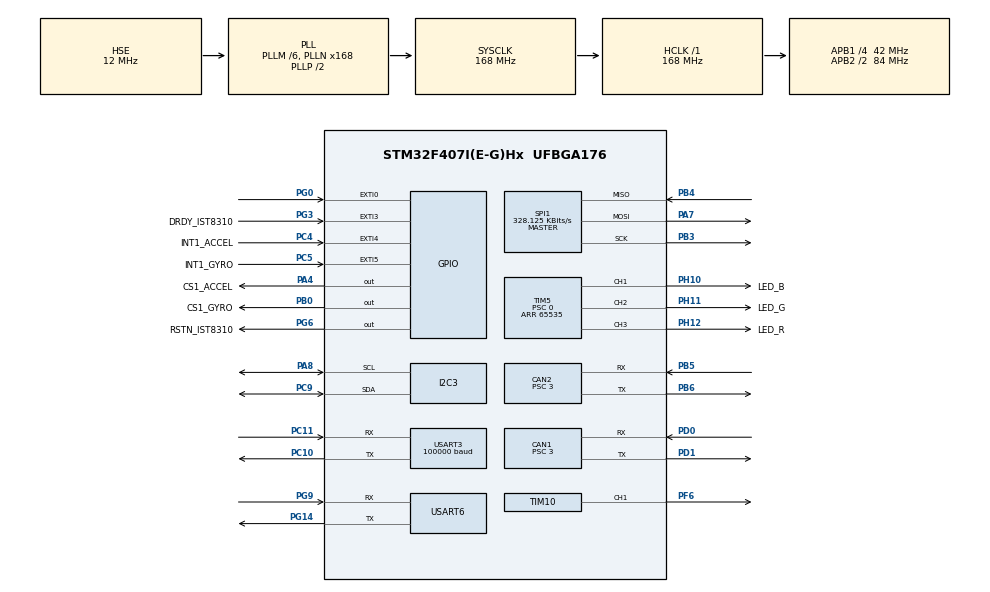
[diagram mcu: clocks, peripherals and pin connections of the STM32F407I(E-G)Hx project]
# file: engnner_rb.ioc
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CAN1.BS1=CAN_BS1_10TQ
CAN1.BS2=CAN_BS2_3TQ
CAN1.CalculateTimeQuantum=71.42857142857143
CAN1.Prescaler=3
CAN2.BS1=CAN_BS1_10TQ
CAN2.BS2=CAN_BS2_3TQ
CAN2.CalculateTimeQuantum=71.42857142857143
CAN2.Prescaler=3
Dma.Request0=SPI1_RX
Dma.Request1=SPI1_TX
Dma.Request2=USART3_RX
Dma.Request3=USART6_RX
Dma.SPI1_RX.0.Direction=DMA_PERIPH_TO_MEMORY
Dma.SPI1_RX.0.FIFOMode=DMA_FIFOMODE_DISABLE
Dma.SPI1_RX.0.Instance=DMA2_Stream2
Dma.SPI1_RX.0.MemDataAlignment=DMA_MDATAALIGN_BYTE
Dma.SPI1_RX.0.MemInc=DMA_MINC_ENABLE
Dma.SPI1_RX.0.Mode=DMA_NORMAL
Dma.SPI1_RX.0.PeriphDataAlignment=DMA_PDATAALIGN_BYTE
Dma.SPI1_RX.0.PeriphInc=DMA_PINC_DISABLE
Dma.SPI1_RX.0.Priority=DMA_PRIORITY_VERY_HIGH
Dma.SPI1_TX.1.Direction=DMA_MEMORY_TO_PERIPH
Dma.SPI1_TX.1.FIFOMode=DMA_FIFOMODE_DISABLE
Dma.SPI1_TX.1.Instance=DMA2_Stream3
Dma.SPI1_TX.1.MemDataAlignment=DMA_MDATAALIGN_BYTE
Dma.SPI1_TX.1.MemInc=DMA_MINC_ENABLE
Dma.SPI1_TX.1.Mode=DMA_NORMAL
Dma.SPI1_TX.1.PeriphDataAlignment=DMA_PDATAALIGN_BYTE
Dma.SPI1_TX.1.PeriphInc=DMA_PINC_DISABLE
Dma.SPI1_TX.1.Priority=DMA_PRIORITY_HIGH
Dma.USART3_RX.2.Direction=DMA_PERIPH_TO_MEMORY
Dma.USART3_RX.2.FIFOMode=DMA_FIFOMODE_DISABLE
Dma.USART3_RX.2.Instance=DMA1_Stream1
Dma.USART3_RX.2.MemDataAlignment=DMA_MDATAALIGN_BYTE
Dma.USART3_RX.2.MemInc=DMA_MINC_ENABLE
Dma.USART3_RX.2.Mode=DMA_CIRCULAR
Dma.USART3_RX.2.PeriphDataAlignment=DMA_PDATAALIGN_BYTE
Dma.USART3_RX.2.PeriphInc=DMA_PINC_DISABLE
Dma.USART3_RX.2.Priority=DMA_PRIORITY_HIGH
Dma.USART6_RX.3.Direction=DMA_PERIPH_TO_MEMORY
Dma.USART6_RX.3.FIFOMode=DMA_FIFOMODE_DISABLE
Dma.USART6_RX.3.Instance=DMA2_Stream1
Dma.USART6_RX.3.MemDataAlignment=DMA_MDATAALIGN_BYTE
Dma.USART6_RX.3.MemInc=DMA_MINC_ENABLE
Dma.USART6_RX.3.Mode=DMA_NORMAL
Dma.USART6_RX.3.PeriphDataAlignment=DMA_PDATAALIGN_BYTE
Dma.USART6_RX.3.PeriphInc=DMA_PINC_DISABLE
Dma.USART6_RX.3.Priority=DMA_PRIORITY_HIGH
FREERTOS.INCLUDE_eTaskGetState=1
FREERTOS.INCLUDE_pcTaskGetTaskName=1
FREERTOS.INCLUDE_uxTaskGetStackHighWaterMark=1
FREERTOS.INCLUDE_vTaskCleanUpResources=1
FREERTOS.INCLUDE_vTaskDelayUntil=1
FREERTOS.INCLUDE_xEventGroupSetBitFromISR=1
FREERTOS.INCLUDE_xQueueGetMutexHolder=1
FREERTOS.INCLUDE_xSemaphoreGetMutexHolder=1
FREERTOS.INCLUDE_xTaskAbortDelay=1
FREERTOS.INCLUDE_xTaskGetCurrentTaskHandle=1
FREERTOS.INCLUDE_xTaskGetHandle=1
FREERTOS.INCLUDE_xTimerPendFunctionCall=1
FREERTOS.Tasks01=test,24,128,test_task,As weak,NULL,Dynamic,NULL,NULL
FREERTOS.configTOTAL_HEAP_SIZE=24576
I2C3.I2C_Mode=I2C_Fast
Mcu.Family=STM32F4
Mcu.Name=STM32F407I(E-G)Hx
Mcu.Package=UFBGA176
NVIC.CAN1_RX0_IRQn=true\:5\:0\:false\:false\:true\:true\:true\:true\:true
NVIC.CAN2_RX0_IRQn=true\:5\:0\:false\:false\:true\:true\:true\:true\:true
NVIC.DMA1_Stream1_IRQn=true\:5\:0\:true\:false\:true\:true\:false\:true\:true
NVIC.DMA2_Stream1_IRQn=true\:5\:0\:false\:false\:true\:true\:false\:true\:true
NVIC.DMA2_Stream2_IRQn=true\:5\:0\:true\:false\:false\:true\:false\:true\:true
NVIC.DMA2_Stream3_IRQn=true\:5\:0\:true\:false\:false\:true\:false\:true\:true
NVIC.EXTI0_IRQn=true\:6\:0\:true\:false\:true\:true\:true\:true\:true
NVIC.EXTI3_IRQn=true\:5\:0\:true\:false\:true\:true\:true\:true\:true
NVIC.EXTI4_IRQn=true\:5\:0\:true\:false\:true\:true\:true\:true\:true
NVIC.EXTI9_5_IRQn=true\:5\:0\:true\:false\:true\:true\:true\:true\:true
NVIC.PriorityGroup=NVIC_PRIORITYGROUP_4
NVIC.USART3_IRQn=true\:5\:0\:false\:false\:true\:true\:true\:true\:true
NVIC.USART6_IRQn=true\:5\:0\:false\:false\:true\:true\:true\:true\:true
PA13.Mode=Serial_Wire
PA13.Signal=SYS_JTMS-SWDIO
PA14.Mode=Serial_Wire
PA14.Signal=SYS_JTCK-SWCLK
PA4.GPIO_Label=CS1_ACCEL
PA4.GPIO_PuPd=GPIO_PULLUP
PA4.GPIO_Speed=GPIO_SPEED_FREQ_HIGH
PA4.PinState=GPIO_PIN_SET
PA4.Signal=GPIO_Output
PA7.GPIO_PuPd=GPIO_PULLUP
PA7.Mode=Full_Duplex_Master
PA7.Signal=SPI1_MOSI
PA8.Mode=I2C
PA8.Signal=I2C3_SCL
PB0.GPIO_Label=CS1_GYRO
PB0.GPIO_PuPd=GPIO_PULLUP
PB0.GPIO_Speed=GPIO_SPEED_FREQ_HIGH
PB0.PinState=GPIO_PIN_SET
PB0.Signal=GPIO_Output
PB3.GPIO_PuPd=GPIO_PULLUP
PB3.Mode=Full_Duplex_Master
PB3.Signal=SPI1_SCK
PB4.GPIO_PuPd=GPIO_PULLUP
PB4.Mode=Full_Duplex_Master
PB4.Signal=SPI1_MISO
PB5.Mode=Slave
PB5.Signal=CAN2_RX
PB6.Mode=Slave
PB6.Signal=CAN2_TX
PC10.Mode=Asynchronous
PC10.Signal=USART3_TX
PC11.Mode=Asynchronous
PC11.Signal=USART3_RX
PC4.GPIO_Label=INT1_ACCEL
PC4.GPIO_ModeDefaultEXTI=GPIO_MODE_IT_FALLING
PC4.GPIO_PuPd=GPIO_PULLUP
PC4.Signal=GPXTI4
PC5.GPIO_Label=INT1_GYRO
PC5.GPIO_ModeDefaultEXTI=GPIO_MODE_IT_FALLING
PC5.GPIO_PuPd=GPIO_PULLUP
PC5.Signal=GPXTI5
PC9.Mode=I2C
PC9.Signal=I2C3_SDA
PD0.Mode=Master
PD0.Signal=CAN1_RX
PD1.Mode=Master
PD1.Signal=CAN1_TX
PF6.GPIO_PuPd=GPIO_PULLUP
PF6.GPIO_Speed=GPIO_SPEED_FREQ_HIGH
PF6.Signal=S_TIM10_CH1
PG0.GPIO_ModeDefaultEXTI=GPIO_MODE_IT_FALLING
PG0.GPIO_PuPd=GPIO_PULLUP
PG0.Signal=GPXTI0
PG14.GPIO_Speed=GPIO_SPEED_FREQ_VERY_HIGH
PG14.Mode=Asynchronous
PG14.Signal=USART6_TX
PG3.GPIO_Label=DRDY_IST8310
PG3.GPIO_ModeDefaultEXTI=GPIO_MODE_IT_FALLING
PG3.GPIO_PuPd=GPIO_PULLUP
PG3.Signal=GPXTI3
PG6.GPIO_Label=RSTN_IST8310
PG6.GPIO_PuPd=GPIO_PULLUP
PG6.GPIO_Speed=GPIO_SPEED_FREQ_MEDIUM
PG6.PinState=GPIO_PIN_SET
PG6.Signal=GPIO_Output
PG9.GPIO_PuPd=GPIO_PULLUP
PG9.Mode=Asynchronous
PG9.Signal=USART6_RX
PH0-OSC_IN.Mode=HSE-External-Oscillator
PH0-OSC_IN.Signal=RCC_OSC_IN
PH1-OSC_OUT.Mode=HSE-External-Oscillator
PH1-OSC_OUT.Signal=RCC_OSC_OUT
PH10.GPIO_Label=LED_B
PH10.GPIO_PuPd=GPIO_PULLUP
PH10.GPIO_Speed=GPIO_SPEED_FREQ_HIGH
PH10.Signal=S_TIM5_CH1
PH11.GPIO_Label=LED_G
PH11.GPIO_PuPd=GPIO_PULLUP
PH11.GPIO_Speed=GPIO_SPEED_FREQ_HIGH
PH11.Signal=S_TIM5_CH2
PH12.GPIO_Label=LED_R
PH12.GPIO_PuPd=GPIO_PULLUP
PH12.GPIO_Speed=GPIO_SPEED_FREQ_HIGH
PH12.Signal=S_TIM5_CH3
ProjectManager.HeapSize=0x2000
ProjectManager.StackSize=0x2000
ProjectManager.TargetToolchain=MDK-ARM V5
RCC.48MHZClocksFreq_Value=48000000
RCC.AHBFreq_Value=168000000
RCC.APB1CLKDivider=RCC_HCLK_DIV4
RCC.APB1Freq_Value=42000000
RCC.APB1TimFreq_Value=84000000
RCC.APB2CLKDivider=RCC_HCLK_DIV2
RCC.APB2Freq_Value=84000000
RCC.APB2TimFreq_Value=168000000
RCC.CortexFreq_Value=168000000
RCC.HCLKFreq_Value=168000000
RCC.HSE_VALUE=12000000
RCC.HSI_VALUE=16000000
RCC.LSE_VALUE=32768
RCC.PLLM=6
RCC.PLLN=168
RCC.PLLQ=7
RCC.PLLSourceVirtual=RCC_PLLSOURCE_HSE
RCC.RCC_RTC_Clock_SourceVirtual=RCC_RTCCLKSOURCE_HSE_DIV30
RCC.RCC_RTC_Clock_Source_FROM_HSE=RCC_RTCCLKSOURCE_HSE_DIV30
RCC.SYSCLKFreq_VALUE=168000000
RCC.SYSCLKSource=RCC_SYSCLKSOURCE_PLLCLK
RCC.VCOOutputFreq_Value=336000000
SH.S_TIM10_CH1.0=TIM10_CH1,PWM Generation1 CH1
SH.S_TIM5_CH1.0=TIM5_CH1,PWM Generation1 CH1
SH.S_TIM5_CH2.0=TIM5_CH2,PWM Generation2 CH2
SH.S_TIM5_CH3.0=TIM5_CH3,PWM Generation3 CH3
SPI1.BaudRatePrescaler=SPI_BAUDRATEPRESCALER_256
SPI1.CLKPhase=SPI_PHASE_2EDGE
SPI1.CLKPolarity=SPI_POLARITY_HIGH
SPI1.CalculateBaudRate=328.125 KBits/s
SPI1.Direction=SPI_DIRECTION_2LINES
SPI1.Mode=SPI_MODE_MASTER
SPI1.VirtualType=VM_MASTER
TIM10.Channel=TIM_CHANNEL_1
TIM10.Period=4999
TIM5.Channel-PWM\ Generation1\ CH1=TIM_CHANNEL_1
TIM5.Channel-PWM\ Generation2\ CH2=TIM_CHANNEL_2
TIM5.Channel-PWM\ Generation3\ CH3=TIM_CHANNEL_3
TIM5.Period=65535
TIM5.Prescaler=0
USART3.BaudRate=100000
USART3.Mode=MODE_TX_RX
USART3.Parity=PARITY_EVEN
USART3.VirtualMode=VM_ASYNC
USART6.VirtualMode=VM_ASYNC
VP_FREERTOS_VS_CMSIS_V1.Mode=CMSIS_V1
VP_TIM10_VS_ClockSourceINT.Mode=Enable_Timer
VP_TIM5_VS_ClockSourceINT.Mode=Internal
board=custom

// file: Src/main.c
/* USER CODE BEGIN Header */
/**
  ******************************************************************************
  * @file           : main.c
  * @brief          : Main program body
  ******************************************************************************
  * @attention
  *
  * <h2><center>&copy; Copyright (c) 2024 STMicroelectronics.
  * All rights reserved.</center></h2>
  *
  * This software component is licensed by ST under Ultimate Liberty license
  * SLA0044, the "License"; You may not use this file except in compliance with
  * the License. You may obtain a copy of the License at:
  *                             www.st.com/SLA0044
  *
  ******************************************************************************
  */
/* USER CODE END Header */

#include "main.h"
#include "cmsis_os.h"
#include "can.h"
#include "dma.h"
#include "i2c.h"
#include "spi.h"
#include "tim.h"
#include "usart.h"
#include "gpio.h"

/* USER CODE BEGIN Includes */
#include "bsp_delay.h"
#include "remote_control.h"
/* USER CODE END Includes */

void SystemClock_Config(void);
void MX_FREERTOS_Init(void);

int main(void)
{

  /* MCU Configuration--------------------------------------------------------*/

  /* Reset of all peripherals, Initializes the Flash interface and the Systick. */
  HAL_Init();

  /* Configure the system clock */
  SystemClock_Config();

  /* Initialize all configured peripherals */
  MX_GPIO_Init();
  MX_DMA_Init();
  MX_SPI1_Init();
  MX_TIM5_Init();
  MX_I2C3_Init();
  MX_TIM10_Init();
  MX_USART3_UART_Init();
  MX_USART6_UART_Init();
  MX_CAN1_Init();
  MX_CAN2_Init();
  /* USER CODE BEGIN 2 */
	remote_control_init();
    delay_init();
  /* USER CODE END 2 */

  /* Call init function for freertos objects (in freertos.c) */
  MX_FREERTOS_Init();

  /* Start scheduler */
  osKernelStart();

  /* We should never get here as control is now taken by the scheduler */

  /* Infinite loop */
  while (1)
  {

  }
}

void SystemClock_Config(void)
{
  RCC_OscInitTypeDef RCC_OscInitStruct = {0};
  RCC_ClkInitTypeDef RCC_ClkInitStruct = {0};

  /** Configure the main internal regulator output voltage
  */
  __HAL_RCC_PWR_CLK_ENABLE();
  __HAL_PWR_VOLTAGESCALING_CONFIG(PWR_REGULATOR_VOLTAGE_SCALE1);
  /** Initializes the CPU, AHB and APB busses clocks
  */
  RCC_OscInitStruct.OscillatorType = RCC_OSCILLATORTYPE_HSE;
  RCC_OscInitStruct.HSEState = RCC_HSE_ON;
  RCC_OscInitStruct.PLL.PLLState = RCC_PLL_ON;
  RCC_OscInitStruct.PLL.PLLSource = RCC_PLLSOURCE_HSE;
  RCC_OscInitStruct.PLL.PLLM = 6;
  RCC_OscInitStruct.PLL.PLLN = 168;
  RCC_OscInitStruct.PLL.PLLP = RCC_PLLP_DIV2;
  RCC_OscInitStruct.PLL.PLLQ = 7;
  if (HAL_RCC_OscConfig(&RCC_OscInitStruct) != HAL_OK)
  {
    Error_Handler();
  }
  /** Initializes the CPU, AHB and APB busses clocks
  */
  RCC_ClkInitStruct.ClockType = RCC_CLOCKTYPE_HCLK|RCC_CLOCKTYPE_SYSCLK
                              |RCC_CLOCKTYPE_PCLK1|RCC_CLOCKTYPE_PCLK2;
  RCC_ClkInitStruct.SYSCLKSource = RCC_SYSCLKSOURCE_PLLCLK;
  RCC_ClkInitStruct.AHBCLKDivider = RCC_SYSCLK_DIV1;
  RCC_ClkInitStruct.APB1CLKDivider = RCC_HCLK_DIV4;
  RCC_ClkInitStruct.APB2CLKDivider = RCC_HCLK_DIV2;

  if (HAL_RCC_ClockConfig(&RCC_ClkInitStruct, FLASH_LATENCY_5) != HAL_OK)
  {
    Error_Handler();
  }
}

void Error_Handler(void)
{
}

/************************ (C) COPYRIGHT STMicroelectronics *****END OF FILE****/

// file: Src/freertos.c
/* USER CODE BEGIN Header */
/**
  ******************************************************************************
  * File Name          : freertos.c
  * Description        : Code for freertos applications
  ******************************************************************************
  * @attention
  *
  * <h2><center>&copy; Copyright (c) 2024 STMicroelectronics.
  * All rights reserved.</center></h2>
  *
  * This software component is licensed by ST under Ultimate Liberty license
  * SLA0044, the "License"; You may not use this file except in compliance with
  * the License. You may obtain a copy of the License at:
  *                             www.st.com/SLA0044
  *
  ******************************************************************************
  */
/* USER CODE END Header */

#include "FreeRTOS.h"
#include "task.h"
#include "main.h"
#include "cmsis_os.h"

/* USER CODE BEGIN Includes */
#include "INS_task.h"
#include "led_flow_task.h"
#include "communicate_task.h"
/* USER CODE END Includes */

/* USER CODE BEGIN PD */
osThreadId imuTaskHandle;
osThreadId led_RGB_flow_handle;
osThreadId communicate_task_handle;
/* USER CODE END PD */

osThreadId testHandle;

void test_task(void const * argument);

void MX_FREERTOS_Init(void); /* (MISRA C 2004 rule 8.1) */

/* GetIdleTaskMemory prototype (linked to static allocation support) */
void vApplicationGetIdleTaskMemory( StaticTask_t **ppxIdleTaskTCBBuffer, StackType_t **ppxIdleTaskStackBuffer, uint32_t *pulIdleTaskStackSize );

/* GetTimerTaskMemory prototype (linked to static allocation support) */
void vApplicationGetTimerTaskMemory( StaticTask_t **ppxTimerTaskTCBBuffer, StackType_t **ppxTimerTaskStackBuffer, uint32_t *pulTimerTaskStackSize );

/* USER CODE BEGIN GET_IDLE_TASK_MEMORY */
static StaticTask_t xIdleTaskTCBBuffer;
static StackType_t xIdleStack[configMINIMAL_STACK_SIZE];

void vApplicationGetIdleTaskMemory( StaticTask_t **ppxIdleTaskTCBBuffer, StackType_t **ppxIdleTaskStackBuffer, uint32_t *pulIdleTaskStackSize )
{
  *ppxIdleTaskTCBBuffer = &xIdleTaskTCBBuffer;
  *ppxIdleTaskStackBuffer = &xIdleStack[0];
  *pulIdleTaskStackSize = configMINIMAL_STACK_SIZE;
  /* place for user code */
}
/* USER CODE END GET_IDLE_TASK_MEMORY */

/* USER CODE BEGIN GET_TIMER_TASK_MEMORY */
static StaticTask_t xTimerTaskTCBBuffer;
static StackType_t xTimerStack[configTIMER_TASK_STACK_DEPTH];

void vApplicationGetTimerTaskMemory( StaticTask_t **ppxTimerTaskTCBBuffer, StackType_t **ppxTimerTaskStackBuffer, uint32_t *pulTimerTaskStackSize )
{
  *ppxTimerTaskTCBBuffer = &xTimerTaskTCBBuffer;
  *ppxTimerTaskStackBuffer = &xTimerStack[0];
  *pulTimerTaskStackSize = configTIMER_TASK_STACK_DEPTH;
  /* place for user code */
}
/* USER CODE END GET_TIMER_TASK_MEMORY */

void MX_FREERTOS_Init(void) {

  /* Create the thread(s) */
  /* definition and creation of test */
  osThreadDef(test, test_task, osPriorityNormal, 0, 128);
  testHandle = osThreadCreate(osThread(test), NULL);

  /* USER CODE BEGIN RTOS_THREADS */
	 osThreadDef(imuTask, INS_task, osPriorityRealtime, 0, 1024);
    imuTaskHandle = osThreadCreate(osThread(imuTask), NULL);

    osThreadDef(led, led_RGB_flow_task, osPriorityNormal, 0, 256);
    led_RGB_flow_handle = osThreadCreate(osThread(led), NULL);

    osThreadDef(communicate, communicate_task, osPriorityNormal, 0, 256);
    communicate_task_handle = osThreadCreate(osThread(communicate), NULL);
  /* add threads, ... */
  /* USER CODE END RTOS_THREADS */

}

__weak void test_task(void const * argument)
{

  for(;;)
  {
    osDelay(1);
  }
}

/************************ (C) COPYRIGHT STMicroelectronics *****END OF FILE****/
